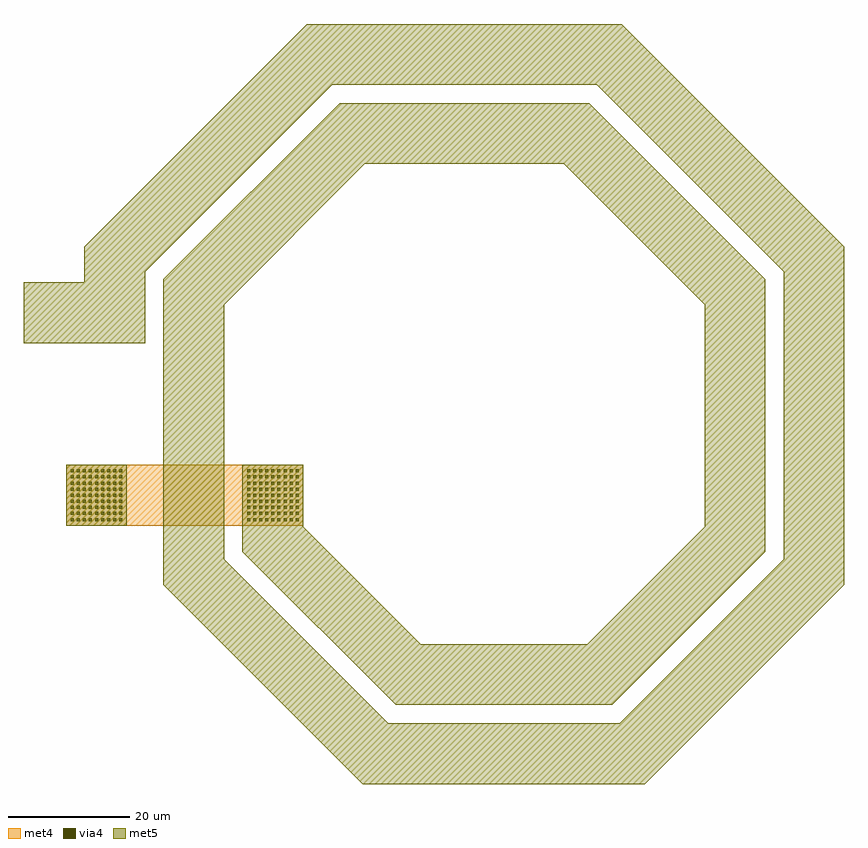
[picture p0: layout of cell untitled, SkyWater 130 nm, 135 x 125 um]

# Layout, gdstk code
import gdstk
lib = gdstk.Library(unit=1e-6, precision=1e-09)
def R(c, l, rs):  # rectangles x0, y0, x1, y1
    for r in rs: c.add(gdstk.rectangle(r[:2], r[2:], *l))
def A(c, l, x, y, w, h, nx, ny, dx, dy):  # array of equal rectangles
    R(c, l, [(x+i*dx, y+j*dy, x+i*dx+w, y+j*dy+h) for i in range(nx) for j in range(ny)])
def P(c, l, *ps):  # polygons
    for p in ps: c.add(gdstk.Polygon(p, *l))
met4 = (71, 20)
via4 = (71, 44)
met5 = (72, 20)

untitled = lib.new_cell('untitled')
R(untitled, met4, [(-172,-120,-162,-110), (-172,-120,-133,-110), (-143,-120,-133,-110)])
A(untitled, via4, -171.25, -119.25, 0.5, 0.5, 9, 9, 1, 1)
A(untitled, via4, -142.25, -119.25, 0.5, 0.5, 9, 9, 1, 1)
R(untitled, met5, [(-172,-120,-162,-110), (-143,-120,-133,-110), (-179,-90,-159,-80)])
P(untitled, met5, [(-133,-110),(-133,-120.17),(-113.67,-139.5),(-86.33,-139.5),(-67,-120.17),(-67,-83.64),(-90.14,-60.5),(-122.86,-60.5),(-146,-83.64),(-146,-125.555),(-119.055,-152.5),(-80.945,-152.5),(-54,-125.555),(-54,-78.255),(-84.755,-47.5),(-128.245,-47.5),(-159,-78.255),(-159,-90),(-169,-90),(-169,-74.11),(-132.39,-37.5),(-80.61,-37.5),(-44,-74.11),(-44,-129.695),(-76.805,-162.5),(-123.195,-162.5),(-156,-129.695),(-156,-79.495),(-127.005,-50.5),(-85.995,-50.5),(-57,-79.495),(-57,-124.31),(-82.19,-149.5),(-117.81,-149.5),(-143,-124.31),(-143,-110)])

lib.write_gds('untitled.gds')
